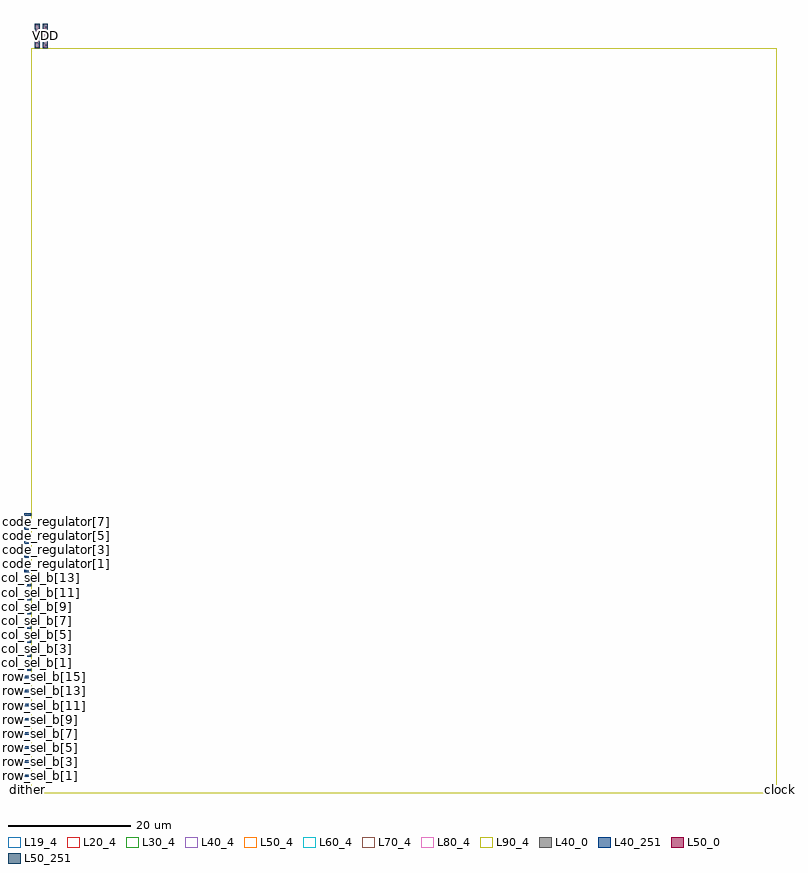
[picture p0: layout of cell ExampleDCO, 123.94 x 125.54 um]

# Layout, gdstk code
import gdstk
lib = gdstk.Library(unit=1e-6, precision=1e-09)
def R(c, l, rs):  # rectangles x0, y0, x1, y1
    for r in rs: c.add(gdstk.rectangle(r[:2], r[2:], *l))
def A(c, l, x, y, w, h, nx, ny, dx, dy):  # array of equal rectangles
    R(c, l, [(x+i*dx, y+j*dy, x+i*dx+w, y+j*dy+h) for i in range(nx) for j in range(ny)])
L19_4 = (19, 4)
L20_4 = (20, 4)
L30_4 = (30, 4)
L40_0 = (40, 0)
L40_4 = (40, 4)
L40_251 = (40, 251)
L50_0 = (50, 0)
L50_4 = (50, 4)
L50_251 = (50, 251)
L60_4 = (60, 4)
L70_4 = (70, 4)
L80_4 = (80, 4)
L90_4 = (90, 4)

exampledco = lib.new_cell('ExampleDCO')
R(exampledco, L19_4, [(1.2,0,122.736,121.536)])
R(exampledco, L20_4, [(1.2,0,122.736,121.536)])
R(exampledco, L30_4, [(1.2,0,122.736,121.536)])
A(exampledco, L40_0, 0, 0.384, 1.2, 0.384, 1, 40, 0, 1.152)
R(exampledco, L40_0, [(122.736,0.384,123.936,0.768)])
R(exampledco, L40_4, [(1.2,0,122.736,121.536)])
A(exampledco, L40_251, 0, 0.384, 1.2, 0.384, 1, 40, 0, 1.152)
R(exampledco, L40_251, [(122.736,0.384,123.936,0.768)])
R(exampledco, L50_0, [(1.728,121.536,2.592,125.536), (3.024,121.536,3.888,125.536)])
R(exampledco, L50_4, [(1.2,0,122.736,121.536)])
R(exampledco, L50_251, [(1.728,121.536,2.592,125.536), (3.024,121.536,3.888,125.536)])
R(exampledco, L60_4, [(1.2,0,122.736,121.536)])
R(exampledco, L70_4, [(1.2,0,122.736,121.536)])
R(exampledco, L80_4, [(1.2,0,122.736,121.536)])
R(exampledco, L90_4, [(1.2,0,122.736,121.536)])
exampledco.add(gdstk.Label('dither', (0.6,0.576), layer=40, texttype=0))
exampledco.add(gdstk.Label('row_sel_b[0]', (0.6,1.728), layer=40, texttype=0))
exampledco.add(gdstk.Label('row_sel_b[1]', (0.6,2.88), layer=40, texttype=0))
exampledco.add(gdstk.Label('row_sel_b[2]', (0.6,4.032), layer=40, texttype=0))
exampledco.add(gdstk.Label('row_sel_b[3]', (0.6,5.184), layer=40, texttype=0))
exampledco.add(gdstk.Label('row_sel_b[4]', (0.6,6.336), layer=40, texttype=0))
exampledco.add(gdstk.Label('row_sel_b[5]', (0.6,7.488), layer=40, texttype=0))
exampledco.add(gdstk.Label('row_sel_b[6]', (0.6,8.64), layer=40, texttype=0))
exampledco.add(gdstk.Label('row_sel_b[7]', (0.6,9.792), layer=40, texttype=0))
exampledco.add(gdstk.Label('row_sel_b[8]', (0.6,10.944), layer=40, texttype=0))
exampledco.add(gdstk.Label('row_sel_b[9]', (0.6,12.096), layer=40, texttype=0))
exampledco.add(gdstk.Label('row_sel_b[10]', (0.6,13.248), layer=40, texttype=0))
exampledco.add(gdstk.Label('row_sel_b[11]', (0.6,14.4), layer=40, texttype=0))
exampledco.add(gdstk.Label('row_sel_b[12]', (0.6,15.552), layer=40, texttype=0))
exampledco.add(gdstk.Label('row_sel_b[13]', (0.6,16.704), layer=40, texttype=0))
exampledco.add(gdstk.Label('row_sel_b[14]', (0.6,17.856), layer=40, texttype=0))
exampledco.add(gdstk.Label('row_sel_b[15]', (0.6,19.008), layer=40, texttype=0))
exampledco.add(gdstk.Label('col_sel_b[0]', (0.6,20.16), layer=40, texttype=0))
exampledco.add(gdstk.Label('col_sel_b[1]', (0.6,21.312), layer=40, texttype=0))
exampledco.add(gdstk.Label('col_sel_b[2]', (0.6,22.464), layer=40, texttype=0))
exampledco.add(gdstk.Label('col_sel_b[3]', (0.6,23.616), layer=40, texttype=0))
exampledco.add(gdstk.Label('col_sel_b[4]', (0.6,24.768), layer=40, texttype=0))
exampledco.add(gdstk.Label('col_sel_b[5]', (0.6,25.92), layer=40, texttype=0))
exampledco.add(gdstk.Label('col_sel_b[6]', (0.6,27.072), layer=40, texttype=0))
exampledco.add(gdstk.Label('col_sel_b[7]', (0.6,28.224), layer=40, texttype=0))
exampledco.add(gdstk.Label('col_sel_b[8]', (0.6,29.376), layer=40, texttype=0))
exampledco.add(gdstk.Label('col_sel_b[9]', (0.6,30.528), layer=40, texttype=0))
exampledco.add(gdstk.Label('col_sel_b[10]', (0.6,31.68), layer=40, texttype=0))
exampledco.add(gdstk.Label('col_sel_b[11]', (0.6,32.832), layer=40, texttype=0))
exampledco.add(gdstk.Label('col_sel_b[12]', (0.6,33.984), layer=40, texttype=0))
exampledco.add(gdstk.Label('col_sel_b[13]', (0.6,35.136), layer=40, texttype=0))
exampledco.add(gdstk.Label('code_regulator[0]', (0.6,36.288), layer=40, texttype=0))
exampledco.add(gdstk.Label('code_regulator[1]', (0.6,37.44), layer=40, texttype=0))
exampledco.add(gdstk.Label('code_regulator[2]', (0.6,38.592), layer=40, texttype=0))
exampledco.add(gdstk.Label('code_regulator[3]', (0.6,39.744), layer=40, texttype=0))
exampledco.add(gdstk.Label('code_regulator[4]', (0.6,40.896), layer=40, texttype=0))
exampledco.add(gdstk.Label('code_regulator[5]', (0.6,42.048), layer=40, texttype=0))
exampledco.add(gdstk.Label('code_regulator[6]', (0.6,43.2), layer=40, texttype=0))
exampledco.add(gdstk.Label('code_regulator[7]', (0.6,44.352), layer=40, texttype=0))
exampledco.add(gdstk.Label('sleep_b', (0.6,45.504), layer=40, texttype=0))
exampledco.add(gdstk.Label('clock', (123.336,0.576), layer=40, texttype=0))
exampledco.add(gdstk.Label('VDD', (3.456,123.536), layer=50, texttype=0))
exampledco.add(gdstk.Label('VSS', (2.16,123.536), layer=50, texttype=0))

lib.write_gds('ExampleDCO.gds')
